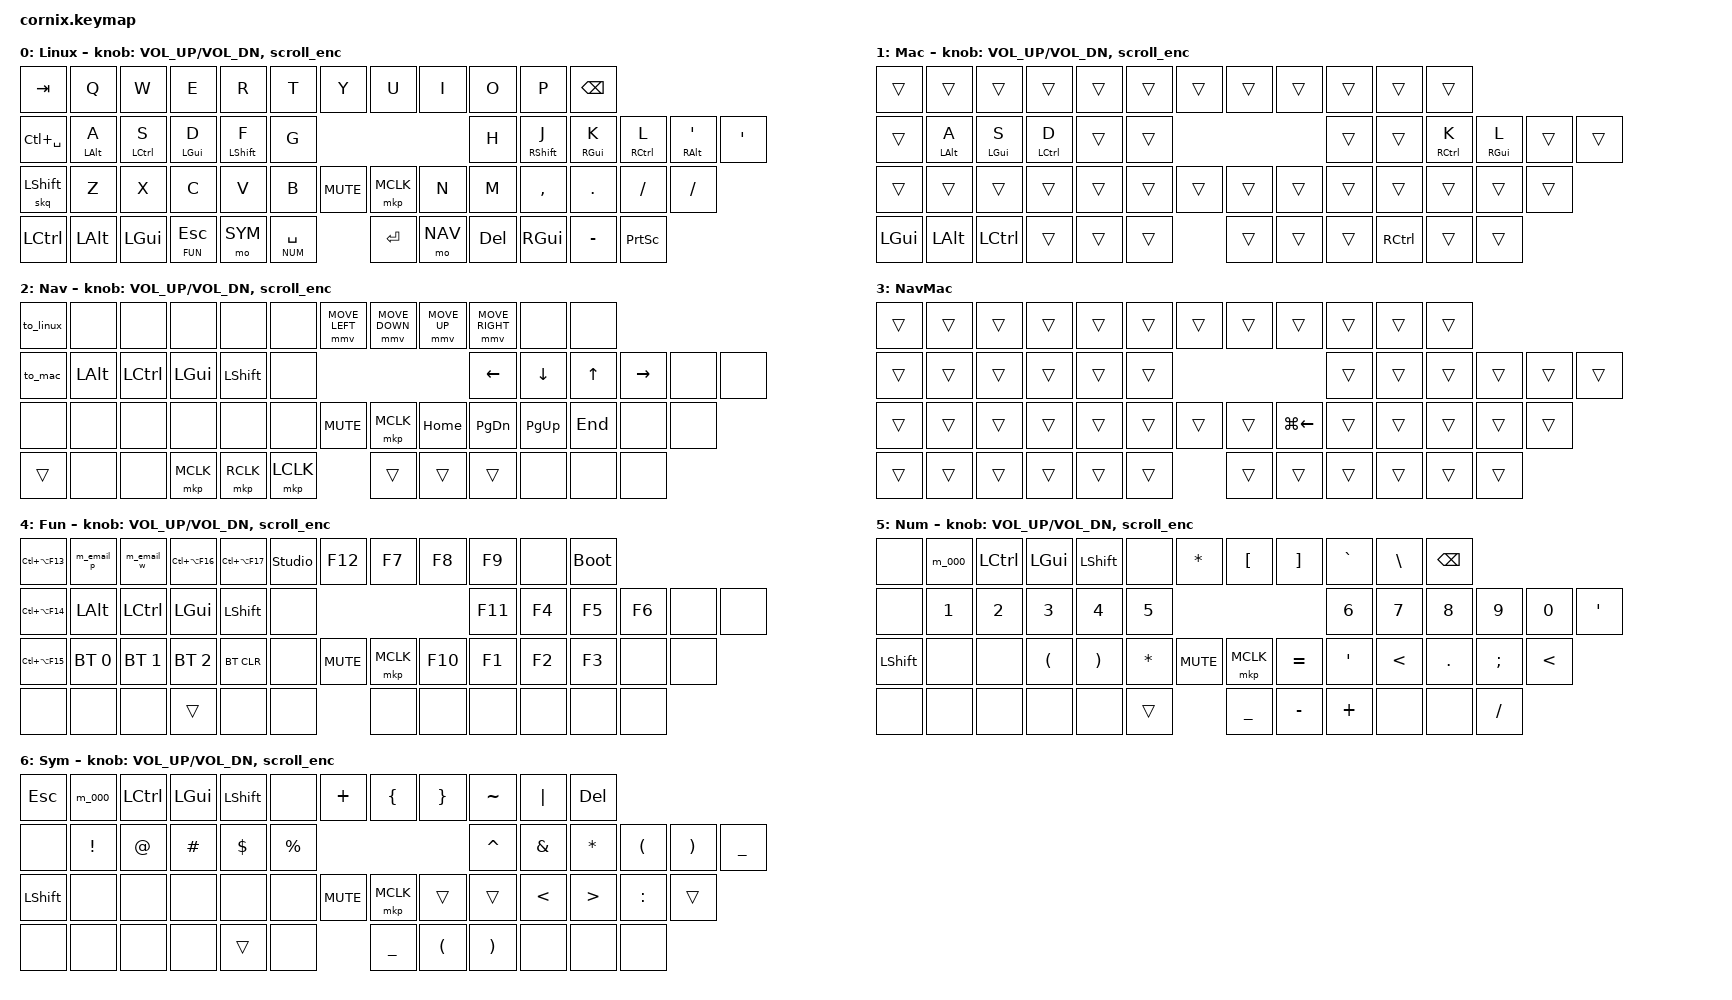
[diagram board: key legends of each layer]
/*
 * Cornix LP keymap, translated 2026-10-24 from the RMK/Vial layout
 * (~/.config/cornix/backups/zmk_trial_20261024/cornix_full_backup_20261024.vil).
 *
 * Position map (50 keys):
 *   0- 5 | 6-11      top row, left outer->inner | right inner->outer
 *  12-17 | 18-23     home row
 *  24-29 30 31 32-37 bottom row, 30/31 = inner extra keys (encoder push: Mute / middle click)
 *  38-40 41-43 | 44-46 47-49   left palm (outer->inner), left thumbs (outer->inner) | right thumbs (inner->outer), right palm (inner->outer)
 *
 * Layers: 0 Linux base, 1 Mac (thin overlay: Ctrl<->Gui), 2 Nav, 3 NavMac (auto when 1+2),
 *         4 Fun, 5 Num (hold Space), 6 Sym (hold Tab).
 */

#include <behaviors.dtsi>
#include <dt-bindings/zmk/bt.h>
#include <dt-bindings/zmk/keys.h>
#include <dt-bindings/zmk/pointing.h>

#define BASE 0
#define MAC  1
#define NAV  2
#define NAVM 3
#define FUN  4
#define NUM  5
#define SYM  6

// hand groups for positional (chordal) hold-tap
#define KEYS_L 0 1 2 3 4 5 12 13 14 15 16 17 24 25 26 27 28 29 30 38 39 40
#define KEYS_R 6 7 8 9 10 11 18 19 20 21 22 23 31 32 33 34 35 36 37 47 48 49
#define THUMBS 41 42 43 44 45 46

// timing (Vial at migration time: tapping term 190, flow tap 70, permissive hold on)
#define HRM_TERM   200
#define HRM_IDLE   100   // flow tap for home-row mods only
#define SPC_TERM   170   // Space layer key: shorter term, NO prior-idle
#define FUN_TERM   200

/ {
    behaviors {
        // home-row mods: balanced == permissive hold; hold-trigger = opposite hand + thumbs
        hml: hml {
            compatible = "zmk,behavior-hold-tap";
            #binding-cells = <2>;
            bindings = <&kp>, <&kp>;
            flavor = "balanced";
            tapping-term-ms = <HRM_TERM>;
            quick-tap-ms = <175>;
            require-prior-idle-ms = <HRM_IDLE>;
            hold-trigger-key-positions = <KEYS_R THUMBS>;
            hold-trigger-on-release;
        };
        hmr: hmr {
            compatible = "zmk,behavior-hold-tap";
            #binding-cells = <2>;
            bindings = <&kp>, <&kp>;
            flavor = "balanced";
            tapping-term-ms = <HRM_TERM>;
            quick-tap-ms = <175>;
            require-prior-idle-ms = <HRM_IDLE>;
            hold-trigger-key-positions = <KEYS_L THUMBS>;
            hold-trigger-on-release;
        };
        // shift variants: same for now, kept separate so they can be tuned alone
        hsl: hsl {
            compatible = "zmk,behavior-hold-tap";
            #binding-cells = <2>;
            bindings = <&kp>, <&kp>;
            flavor = "balanced";
            tapping-term-ms = <HRM_TERM>;
            quick-tap-ms = <175>;
            require-prior-idle-ms = <HRM_IDLE>;
            hold-trigger-key-positions = <KEYS_R THUMBS>;
            hold-trigger-on-release;
        };
        hsr: hsr {
            compatible = "zmk,behavior-hold-tap";
            #binding-cells = <2>;
            bindings = <&kp>, <&kp>;
            flavor = "balanced";
            tapping-term-ms = <HRM_TERM>;
            quick-tap-ms = <175>;
            require-prior-idle-ms = <HRM_IDLE>;
            hold-trigger-key-positions = <KEYS_L THUMBS>;
            hold-trigger-on-release;
        };
        // Space -> Num: short term, no flow-tap, so "type letters then immediately hold space + digit" works
        lt_spc: lt_spc {
            compatible = "zmk,behavior-hold-tap";
            #binding-cells = <2>;
            bindings = <&mo>, <&kp>;
            flavor = "balanced";
            tapping-term-ms = <SPC_TERM>;
            quick-tap-ms = <150>;   // double-tap space = held space (auto-repeat)
        };
        // Esc -> Fun
        lt_fun: lt_fun {
            compatible = "zmk,behavior-hold-tap";
            #binding-cells = <2>;
            bindings = <&mo>, <&kp>;
            flavor = "balanced";
            tapping-term-ms = <FUN_TERM>;
            quick-tap-ms = <150>;
        };
        // one-shot shift (RMK OSM equivalent); released after next key or 1.5 s
        skq: skq {
            compatible = "zmk,behavior-sticky-key";
            #binding-cells = <1>;
            bindings = <&kp>;
            release-after-ms = <1500>;
            quick-release;
            ignore-modifiers;
        };
        // right encoder = scroll
        scroll_enc: scroll_enc {
            compatible = "zmk,behavior-sensor-rotate";
            #sensor-binding-cells = <0>;
            bindings = <&msc SCRL_DOWN>, <&msc SCRL_UP>;
        };
    };

    macros {
        m_email_p: m_email_p {
            compatible = "zmk,behavior-macro";
            #binding-cells = <0>;
            wait-ms = <5>;
            tap-ms = <5>;
            bindings = <&kp LANG2>, <&macro_wait_time 50>, <&kp P>, <&kp I>, <&kp X>, <&kp E>, <&kp L>, <&kp H>, <&kp E>, <&kp G>, <&kp E>, <&kp L>, <&kp AT>, <&kp G>, <&kp M>, <&kp A>, <&kp I>, <&kp L>, <&kp DOT>, <&kp C>, <&kp O>, <&kp M>;
        };  // personal email

        m_email_w: m_email_w {
            compatible = "zmk,behavior-macro";
            #binding-cells = <0>;
            wait-ms = <5>;
            tap-ms = <5>;
            bindings = <&kp LANG2>, <&macro_wait_time 50>, <&kp L>, <&kp A>, <&kp W>, <&kp R>, <&kp E>, <&kp N>, <&kp C>, <&kp E>, <&kp DOT>, <&kp Z>, <&kp AT>, <&kp B>, <&kp I>, <&kp N>, <&kp A>, <&kp N>, <&kp C>, <&kp E>, <&kp DOT>, <&kp C>, <&kp O>, <&kp M>;
        };  // work email

        m_000: m_000 {
            compatible = "zmk,behavior-macro";
            #binding-cells = <0>;
            wait-ms = <5>;
            tap-ms = <5>;
            bindings = <&kp N0>, <&kp N0>, <&kp N0>;
        };  // 000

        // Host switch = Bluetooth profile + layer only. No key presses are sent to either host:
        // a report queued right before &bt BT_SEL lands on the NEW host and leaves the old host
        // with keys held forever (2026-10-29 incident). Monitor switching stays on the Fun layer
        // (plain taps) or is done from the host side.
        to_mac: to_mac {
            compatible = "zmk,behavior-macro";
            #binding-cells = <0>;
            wait-ms = <0>;
            bindings = <&bt BT_SEL 1>, <&to MAC>;
        };
        to_linux: to_linux {
            compatible = "zmk,behavior-macro";
            #binding-cells = <0>;
            wait-ms = <0>;
            bindings = <&bt BT_SEL 0>, <&to BASE>;
        };
    };

    conditional_layers {
        compatible = "zmk,conditional-layers";
        nav_mac {
            if-layers = <MAC NAV>;
            then-layer = <NAVM>;
        };
    };

    combos {
        compatible = "zmk,combos";
        // J+K -> (   K+L -> )   (Vial combo term 30 ms)
        cb_lpar {
            bindings = <&kp LPAR>;
            key-positions = <19 20>;
            timeout-ms = <30>;
            layers = <BASE MAC>;
        };
        cb_rpar {
            bindings = <&kp RPAR>;
            key-positions = <20 21>;
            timeout-ms = <30>;
            layers = <BASE MAC>;
        };
    };

    keymap {
        compatible = "zmk,keymap";

        base_layer {
            display-name = "Linux";
            bindings = <
                &kp TAB  &kp Q  &kp W  &kp E  &kp R  &kp T  &kp Y  &kp U  &kp I  &kp O  &kp P  &kp BSPC
                &kp LC(SPACE)  &hml LALT A  &hml LCTRL S  &hml LGUI D  &hsl LSHFT F  &kp G  &kp H  &hsr RSHFT J  &hmr RGUI K  &hmr RCTRL L  &hmr RALT SQT  &kp SQT
                &skq LSHFT  &kp Z  &kp X  &kp C  &kp V  &kp B  &kp C_MUTE  &mkp MCLK  &kp N  &kp M  &kp COMMA  &kp DOT  &kp FSLH  &kp FSLH
                &kp LCTRL  &kp LALT  &kp LGUI  &lt_fun FUN ESC  &mo SYM  &lt_spc NUM SPACE  &kp RET  &mo NAV  &kp DEL  &kp RGUI  &kp MINUS  &kp PSCRN
            >;
            sensor-bindings = <&inc_dec_kp C_VOL_UP C_VOL_DN &scroll_enc>;
        };

        mac_layer {
            display-name = "Mac";
            bindings = <
                &trans  &trans  &trans  &trans  &trans  &trans  &trans  &trans  &trans  &trans  &trans  &trans
                &trans  &hml LALT A  &hml LGUI S  &hml LCTRL D  &trans  &trans  &trans  &trans  &hmr RCTRL K  &hmr RGUI L  &trans  &trans
                &trans  &trans  &trans  &trans  &trans  &trans  &trans  &trans  &trans  &trans  &trans  &trans  &trans  &trans
                &kp LGUI  &kp LALT  &kp LCTRL  &trans  &trans  &trans  &trans  &trans  &trans  &kp RCTRL  &trans  &trans
            >;
            sensor-bindings = <&inc_dec_kp C_VOL_UP C_VOL_DN &scroll_enc>;
        };

        nav_layer {
            display-name = "Nav";
            bindings = <
                &to_linux  &none  &none  &none  &none  &none  &mmv MOVE_LEFT  &mmv MOVE_DOWN  &mmv MOVE_UP  &mmv MOVE_RIGHT  &none  &none
                &to_mac  &kp LALT  &kp LCTRL  &kp LGUI  &kp LSHFT  &none  &kp LEFT  &kp DOWN  &kp UP  &kp RIGHT  &none  &none
                &none  &none  &none  &none  &none  &none  &kp C_MUTE  &mkp MCLK  &kp HOME  &kp PG_DN  &kp PG_UP  &kp END  &none  &none
                &trans  &none  &none  &mkp MCLK  &mkp RCLK  &mkp LCLK  &trans  &trans  &trans  &none  &none  &none
            >;
            sensor-bindings = <&inc_dec_kp C_VOL_UP C_VOL_DN &scroll_enc>;
        };

        nav_mac_layer {
            display-name = "NavMac";
            bindings = <
                &trans  &trans  &trans  &trans  &trans  &trans  &trans  &trans  &trans  &trans  &trans  &trans
                &trans  &trans  &trans  &trans  &trans  &trans  &trans  &trans  &trans  &trans  &trans  &trans
                &trans  &trans  &trans  &trans  &trans  &trans  &trans  &trans  &kp LG(LEFT)  &trans  &trans  &trans  &trans  &trans
                &trans  &trans  &trans  &trans  &trans  &trans  &trans  &trans  &trans  &trans  &trans  &trans
            >;
        };

        fun_layer {
            display-name = "Fun";
            bindings = <
                &kp LC(LA(F13))  &m_email_p  &m_email_w  &kp LC(LA(F16))  &kp LC(LA(F17))  &studio_unlock  &kp F12  &kp F7  &kp F8  &kp F9  &none  &bootloader
                &kp LC(LA(F14))  &kp LALT  &kp LCTRL  &kp LGUI  &kp LSHFT  &none  &kp F11  &kp F4  &kp F5  &kp F6  &none  &none
                &kp LC(LA(F15))  &bt BT_SEL 0  &bt BT_SEL 1  &bt BT_SEL 2  &bt BT_CLR  &none  &kp C_MUTE  &mkp MCLK  &kp F10  &kp F1  &kp F2  &kp F3  &none  &none
                &none  &none  &none  &trans  &none  &none  &none  &none  &none  &none  &none  &none
            >;
            sensor-bindings = <&inc_dec_kp C_VOL_UP C_VOL_DN &scroll_enc>;
        };

        num_layer {
            display-name = "Num";
            bindings = <
                &none  &m_000  &kp LCTRL  &kp LGUI  &kp LSHFT  &none  &kp ASTRK  &kp LBKT  &kp RBKT  &kp GRAVE  &kp BSLH  &kp BSPC
                &none  &kp N1  &kp N2  &kp N3  &kp N4  &kp N5  &kp N6  &kp N7  &kp N8  &kp N9  &kp N0  &kp SQT
                &kp LSHFT  &none  &none  &kp LPAR  &kp RPAR  &kp ASTRK  &kp C_MUTE  &mkp MCLK  &kp EQUAL  &kp SQT  &kp LT  &kp DOT  &kp SEMI  &kp LT
                &none  &none  &none  &none  &none  &trans  &kp UNDER  &kp MINUS  &kp PLUS  &none  &none  &kp FSLH
            >;
            sensor-bindings = <&inc_dec_kp C_VOL_UP C_VOL_DN &scroll_enc>;
        };

        sym_layer {
            display-name = "Sym";
            bindings = <
                &kp ESC  &m_000  &kp LCTRL  &kp LGUI  &kp LSHFT  &none  &kp PLUS  &kp LBRC  &kp RBRC  &kp TILDE  &kp PIPE  &kp DEL
                &none  &kp EXCL  &kp AT  &kp HASH  &kp DLLR  &kp PRCNT  &kp CARET  &kp AMPS  &kp ASTRK  &kp LPAR  &kp RPAR  &kp UNDER
                &kp LSHFT  &none  &none  &none  &none  &none  &kp C_MUTE  &mkp MCLK  &trans  &trans  &kp LT  &kp GT  &kp COLON  &trans
                &none  &none  &none  &none  &trans  &none  &kp UNDER  &kp LPAR  &kp RPAR  &none  &none  &none
            >;
            sensor-bindings = <&inc_dec_kp C_VOL_UP C_VOL_DN &scroll_enc>;
        };

    };
};
